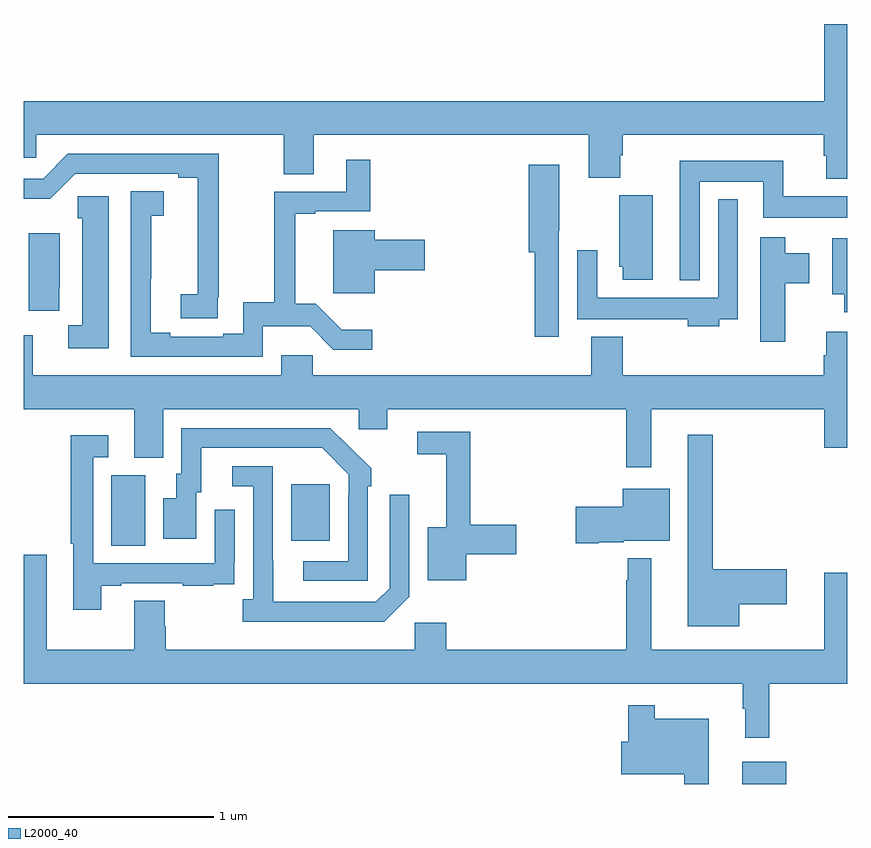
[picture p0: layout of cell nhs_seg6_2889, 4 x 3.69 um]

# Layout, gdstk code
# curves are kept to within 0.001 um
import gdstk
lib = gdstk.Library(unit=1e-6, precision=1e-09)
def R(c, l, rs):  # rectangles x0, y0, x1, y1
    for r in rs: c.add(gdstk.rectangle(r[:2], r[2:], *l))
def P(c, l, *ps):  # polygons
    for p in ps: c.add(gdstk.Polygon(p, *l))
L2000_40 = (2000, 40)

nhs_seg6_2889 = lib.new_cell('nhs_seg6_2889')
R(nhs_seg6_2889, L2000_40, [(284.489,961.5,284.704,961.609), (281.426,962.656,281.59,963), (282.299,962.681,282.487,962.956)])
P(nhs_seg6_2889, L2000_40, [(285,965.191),(284.888,965.191),(284.888,964.816),(281,964.816),(281,964.542),(281.061,964.542),(281.061,964.652),(282.262,964.652),(282.262,964.462),(282.409,964.462),(282.409,964.652),(283.745,964.652),(283.745,964.444),(283.897,964.444),(283.897,964.553),(283.91,964.553),(283.91,964.652),(284.885,964.652),(284.885,964.551),(284.897,964.551),(284.897,964.439),(285,964.439)],
  [(281.942,963.865),(281.948,963.865),(281.948,964.56),(281.214,964.56),(281.094,964.44),(281,964.44),(281,964.343),(281.129,964.343),(281.25,964.464),(281.75,964.464),(281.75,964.444),(281.846,964.444),(281.845,963.878),(281.763,963.878),(281.763,963.763),(281.942,963.763)],
  [(282.162,963.722),(282.391,963.722),(282.504,963.609),(282.694,963.609),(282.694,963.706),(282.545,963.706),(282.419,963.832),(282.32,963.832),(282.32,964.269),(282.415,964.269),(282.415,964.281),(282.683,964.281),(282.683,964.531),(282.566,964.531),(282.566,964.377),(282.217,964.377),(282.217,963.839),(282.066,963.839),(282.066,963.686),(281.969,963.686),(281.969,963.672),(281.713,963.672),(281.713,963.692),(281.617,963.692),(281.617,963.955),(281.619,963.955),(281.619,964.259),(281.68,964.259),(281.68,964.379),(281.52,964.379),(281.52,963.576),(282.162,963.576)],
  [(284.283,964.424),(284.592,964.424),(284.592,964.25),(285,964.25),(285,964.354),(284.69,964.354),(284.69,964.528),(284.186,964.528),(284.186,963.947),(284.283,963.947)],
  [(283.599,964.186),(283.6,964.186),(283.6,964.507),(283.454,964.507),(283.454,964.082),(283.483,964.082),(283.483,963.672),(283.599,963.672)],
  [(284.056,964.359),(283.892,964.359),(283.892,964.011),(283.91,964.011),(283.91,963.948),(284.056,963.948)],
  [(281.413,964.354),(281.263,964.354),(281.263,964.248),(281.285,964.248),(281.285,963.729),(281.217,963.729),(281.217,963.617),(281.413,963.617)],
  [(284.377,963.756),(284.469,963.756),(284.469,964.339),(284.373,964.339),(284.373,963.862),(283.785,963.862),(283.785,964.093),(283.689,964.093),(283.689,963.758),(283.993,963.758),(283.993,963.756),(284.225,963.756),(284.225,963.722),(284.377,963.722)],
  [(282.706,963.995),(282.949,963.995),(282.949,964.142),(282.706,964.142),(282.706,964.189),(282.503,964.189),(282.503,963.884),(282.706,963.884)],
  [(281.173,963.91),(281.176,963.91),(281.176,964.174),(281.024,964.174),(281.024,963.798),(281.173,963.798)],
  [(284.698,963.931),(284.815,963.931),(284.815,964.078),(284.698,964.078),(284.698,964.156),(284.576,964.156),(284.576,963.648),(284.698,963.648)],
  [(285,964.15),(284.927,964.15),(284.927,963.878),(284.984,963.878),(284.984,963.792),(285,963.792)],
  [(284.047,963.32),(284.888,963.32),(284.888,963.132),(285,963.132),(285,963.697),(284.897,963.697),(284.897,963.582),(284.885,963.582),(284.885,963.484),(283.91,963.484),(283.91,963.673),(283.757,963.673),(283.757,963.484),(282.403,963.484),(282.403,963.582),(282.251,963.582),(282.251,963.484),(281.044,963.484),(281.044,963.679),(281,963.679),(281,963.32),(281.537,963.32),(281.537,963.085),(281.677,963.085),(281.677,963.32),(282.627,963.32),(282.627,963.222),(282.766,963.222),(282.766,963.32),(283.926,963.32),(283.926,963.039),(284.047,963.039)],
  [(282.672,962.945),(282.687,962.945),(282.687,963.033),(282.49,963.228),(281.766,963.228),(281.766,963.006),(281.741,963.006),(281.741,962.887),(281.678,962.887),(281.678,962.691),(281.839,962.691),(281.839,962.916),(281.863,962.916),(281.863,963.132),(282.451,963.132),(282.579,963.003),(282.579,962.903),(282.576,962.903),(282.576,962.583),(282.357,962.583),(282.357,962.487),(282.672,962.487)],
  [(283.15,962.617),(283.393,962.617),(283.393,962.759),(283.169,962.759),(283.169,963.21),(282.912,963.21),(282.912,963.102),(283.052,963.102),(283.052,962.746),(282.962,962.746),(282.962,962.489),(283.15,962.489)],
  [(284.476,962.372),(284.707,962.372),(284.707,962.543),(284.347,962.543),(284.347,963.196),(284.225,963.196),(284.225,962.267),(284.476,962.267)],
  [(281.377,962.463),(281.473,962.463),(281.473,962.475),(281.773,962.475),(281.773,962.463),(281.921,962.463),(281.921,962.469),(282.023,962.469),(282.023,962.578),(282.024,962.578),(282.024,962.833),(281.928,962.833),(281.928,962.571),(281.337,962.571),(281.337,963.087),(281.41,963.087),(281.41,963.193),(281.229,963.193),(281.229,962.668),(281.241,962.668),(281.241,962.346),(281.377,962.346)],
  [(282.873,962.409),(282.873,962.905),(282.777,962.905),(282.777,962.451),(282.711,962.385),(282.211,962.385),(282.21,963.042),(282.012,963.042),(282.012,962.946),(282.114,962.946),(282.114,962.398),(282.063,962.398),(282.063,962.288),(282.752,962.288)],
  [(283.792,962.675),(283.914,962.675),(283.914,962.681),(284.137,962.681),(284.137,962.935),(283.91,962.935),(283.91,962.847),(283.68,962.847),(283.68,962.669),(283.792,962.669)],
  [(284.621,961.988),(285,961.988),(285,962.527),(284.888,962.527),(284.888,962.152),(284.047,962.152),(284.047,962.596),(283.933,962.596),(283.933,962.489),(283.926,962.489),(283.926,962.152),(283.052,962.152),(283.052,962.284),(282.9,962.284),(282.9,962.152),(281.69,962.152),(281.69,962.265),(281.685,962.265),(281.685,962.39),(281.537,962.39),(281.537,962.152),(281.113,962.152),(281.113,962.614),(281,962.614),(281,961.988),(284.493,961.988),(284.493,961.865),(284.504,961.865),(284.504,961.725),(284.621,961.725)],
  [(284.326,961.816),(284.065,961.816),(284.065,961.882),(283.936,961.882),(283.936,961.705),(283.902,961.705),(283.902,961.547),(284.209,961.547),(284.209,961.5),(284.326,961.5)])

lib.write_gds('nhs_seg6_2889.gds')
